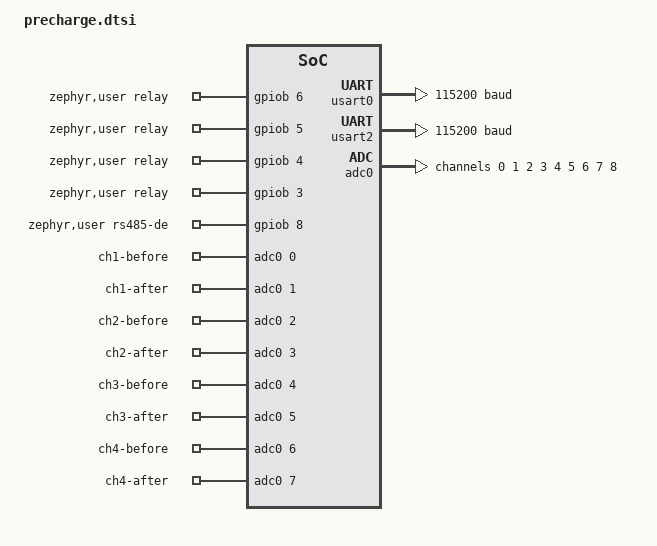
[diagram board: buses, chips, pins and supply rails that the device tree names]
#include <zephyr/dt-bindings/adc/adc.h>

/ {
	aliases {
		factory-uart = &usart0;
		rs485-uart = &usart2;
	};

	zephyr,user {
		/* CH1 before/after, CH2 before/after, CH3 before/after, CH4 before/after. */
		io-channels = <&adc0 0>, <&adc0 1>, <&adc0 2>, <&adc0 3>,
			      <&adc0 4>, <&adc0 5>, <&adc0 6>, <&adc0 7>, <&adc0 8>;
		io-channel-names = "ch1-before", "ch1-after", "ch2-before", "ch2-after",
				   "ch3-before", "ch3-after", "ch4-before", "ch4-after",
				   "reference-3v";
		relay-gpios = <&gpiob 6 GPIO_ACTIVE_HIGH>, <&gpiob 5 GPIO_ACTIVE_HIGH>,
			      <&gpiob 4 GPIO_ACTIVE_HIGH>, <&gpiob 3 GPIO_ACTIVE_HIGH>;
		/* PB12 is the verified LED on this board; PB8 requires physical rewiring. */
		rs485-de-gpios = <&gpiob 8 GPIO_ACTIVE_HIGH>;
	};
};

&gpioa {
	status = "okay";
};

&pinctrl {
	factory_uart_default: factory_uart_default {
		tx {
			pinmux = <USART0_TX_PA9_NORMP>;
		};
		rx {
			pinmux = <USART0_RX_PA10_NORMP>;
			bias-pull-up;
		};
	};

	rs485_uart_default: rs485_uart_default {
		tx {
			pinmux = <USART2_TX_PB10_NORMP>;
		};
		rx {
			pinmux = <USART2_RX_PB11_NORMP>;
			bias-pull-up;
		};
	};

	precharge_adc_default: precharge_adc_default {
		group1 {
			pinmux = <ANALOG_PA0>, <ANALOG_PA1>, <ANALOG_PA2>, <ANALOG_PA3>,
				 <ANALOG_PA4>, <ANALOG_PA5>, <ANALOG_PA6>, <ANALOG_PA7>,
				 <ANALOG_PB0>;
		};
	};
};

&usart0 {
	status = "okay";
	current-speed = <115200>;
	pinctrl-0 = <&factory_uart_default>;
	pinctrl-names = "default";
};

&usart2 {
	status = "okay";
	current-speed = <115200>;
	pinctrl-0 = <&rs485_uart_default>;
	pinctrl-names = "default";
};

&adc0 {
	status = "okay";
	pinctrl-0 = <&precharge_adc_default>;
	pinctrl-names = "default";
	vref-mv = <3300>;
	#address-cells = <1>;
	#size-cells = <0>;

	channel@0 {
		reg = <0>;
		zephyr,gain = "ADC_GAIN_1";
		zephyr,reference = "ADC_REF_INTERNAL";
		zephyr,acquisition-time = <ADC_ACQ_TIME(ADC_ACQ_TIME_TICKS, 240)>;
		zephyr,resolution = <12>;
	};

	channel@1 {
		reg = <1>;
		zephyr,gain = "ADC_GAIN_1";
		zephyr,reference = "ADC_REF_INTERNAL";
		zephyr,acquisition-time = <ADC_ACQ_TIME(ADC_ACQ_TIME_TICKS, 240)>;
		zephyr,resolution = <12>;
	};

	channel@2 {
		reg = <2>;
		zephyr,gain = "ADC_GAIN_1";
		zephyr,reference = "ADC_REF_INTERNAL";
		zephyr,acquisition-time = <ADC_ACQ_TIME(ADC_ACQ_TIME_TICKS, 240)>;
		zephyr,resolution = <12>;
	};

	channel@3 {
		reg = <3>;
		zephyr,gain = "ADC_GAIN_1";
		zephyr,reference = "ADC_REF_INTERNAL";
		zephyr,acquisition-time = <ADC_ACQ_TIME(ADC_ACQ_TIME_TICKS, 240)>;
		zephyr,resolution = <12>;
	};

	channel@4 {
		reg = <4>;
		zephyr,gain = "ADC_GAIN_1";
		zephyr,reference = "ADC_REF_INTERNAL";
		zephyr,acquisition-time = <ADC_ACQ_TIME(ADC_ACQ_TIME_TICKS, 240)>;
		zephyr,resolution = <12>;
	};

	channel@5 {
		reg = <5>;
		zephyr,gain = "ADC_GAIN_1";
		zephyr,reference = "ADC_REF_INTERNAL";
		zephyr,acquisition-time = <ADC_ACQ_TIME(ADC_ACQ_TIME_TICKS, 240)>;
		zephyr,resolution = <12>;
	};

	channel@6 {
		reg = <6>;
		zephyr,gain = "ADC_GAIN_1";
		zephyr,reference = "ADC_REF_INTERNAL";
		zephyr,acquisition-time = <ADC_ACQ_TIME(ADC_ACQ_TIME_TICKS, 240)>;
		zephyr,resolution = <12>;
	};

	channel@7 {
		reg = <7>;
		zephyr,gain = "ADC_GAIN_1";
		zephyr,reference = "ADC_REF_INTERNAL";
		zephyr,acquisition-time = <ADC_ACQ_TIME(ADC_ACQ_TIME_TICKS, 240)>;
		zephyr,resolution = <12>;
	};

	channel@8 {
		reg = <8>;
		zephyr,gain = "ADC_GAIN_1";
		zephyr,reference = "ADC_REF_INTERNAL";
		zephyr,acquisition-time = <ADC_ACQ_TIME(ADC_ACQ_TIME_TICKS, 240)>;
		zephyr,resolution = <12>;
	};
};
